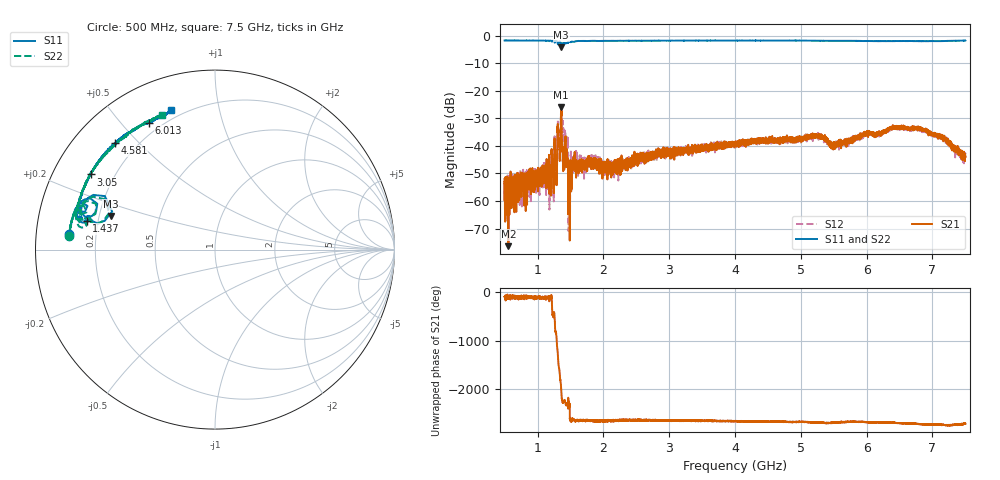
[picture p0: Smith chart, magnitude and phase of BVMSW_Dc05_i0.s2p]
!Keysight Technologies,M9374A,MY55442783,A.12.55.05
!Date: Thursday, May 20, 2021 18:33:43
!Correction: S11(Full 2 Port(1,2))
!S21(Full 2 Port(1,2))
!S12(Full 2 Port(1,2))
!S22(Full 2 Port(1,2))
!S2P File: Measurements: S11, S21, S12, S22:
# Hz S  RI  R 50
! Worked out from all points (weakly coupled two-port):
!   7001 points, 500 MHz to 7.5 GHz, reference 50 ohm
!   highest |S21| = -26.06 dB at 1.36 GHz (marker M1); lowest = -76.4 dB at 558 MHz (marker M2)
!   lowest |S11| = -4.3 dB at 1.361 GHz (marker M3), VSWR 4.14, Z = 12.4 + j7.36 ohm
!   |S11| at or under -10 dB: nowhere
!   |S22| runs from -4.1 to -1.7 dB; largest |S21 - S12| = 0.024
!   S11 on the Smith chart (normalised r, x): 500 MHz: 0.10, +0.05; 1.437 GHz: 0.16, +0.11; 3.05 GHz: 0.11, +0.28; 4.581 GHz: 0.12, +0.43; 6.013 GHz: 0.15, +0.60; 7.5 GHz: 0.16, +0.72
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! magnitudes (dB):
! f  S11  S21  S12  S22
! 500 MHz  -1.8  -53.0  -56.3  -1.8
! 558 MHz  -1.8  -76.4  -54.0  -1.8
! 1.214 GHz  -2.0  -41.1  -42.4  -2.0
! 1.265 GHz  -2.4  -48.8  -47.0  -2.5
! 1.335 GHz  -2.2  -40.5  -39.5  -2.2
! 1.36 GHz  -4.3  -26.1  -25.8  -4.1
! 1.361 GHz  -4.3  -26.8  -26.5  -4.1
! 1.437 GHz  -2.7  -47.2  -39.5  -2.7
! 1.503 GHz  -2.4  -45.1  -43.6  -2.4
! 1.569 GHz  -2.1  -45.0  -42.9  -2.1
! 1.667 GHz  -1.9  -44.8  -44.3  -1.9
! 2.146 GHz  -1.9  -46.4  -46.8  -1.9
! 2.834 GHz  -1.8  -40.8  -43.0  -1.8
! 3.05 GHz  -1.8  -41.4  -42.3  -1.8
! 4 GHz  -1.8  -39.1  -39.8  -1.8
! 4.581 GHz  -1.8  -38.4  -37.7  -1.8
! 5.167 GHz  -1.8  -36.9  -36.5  -1.9
! 5.489 GHz  -1.9  -40.9  -40.4  -1.9
! 6.013 GHz  -2.0  -35.4  -35.6  -1.9
! 6.334 GHz  -2.0  -34.4  -34.0  -1.9
! 6.889 GHz  -2.0  -34.1  -34.4  -1.9
! 7.5 GHz  -1.8  -44.0  -42.6  -1.9
